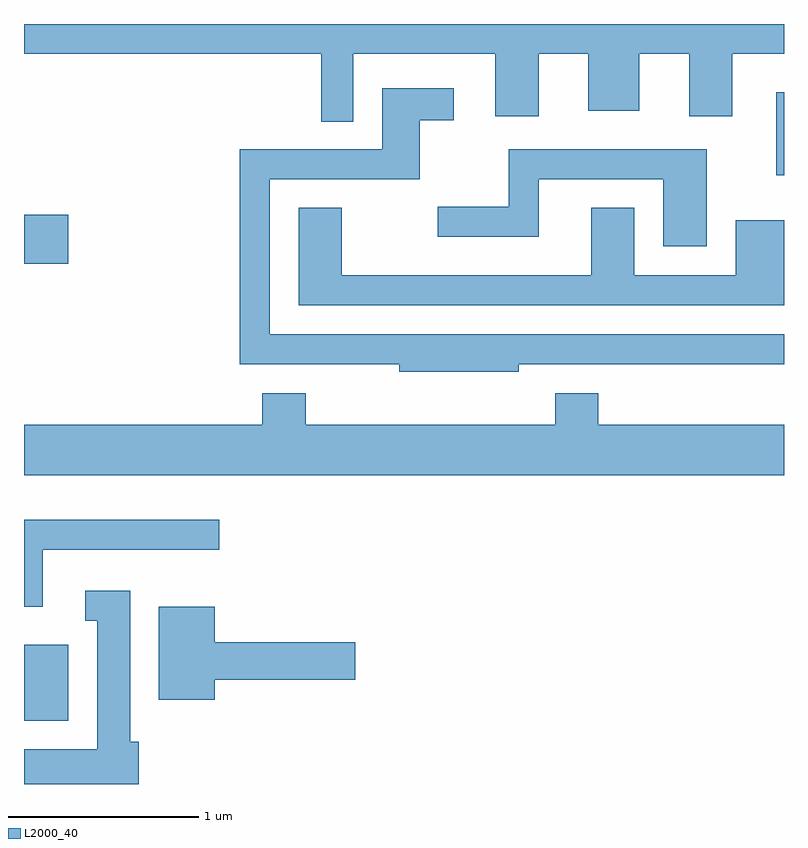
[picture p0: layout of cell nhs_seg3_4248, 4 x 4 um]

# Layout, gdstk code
import gdstk
lib = gdstk.Library(unit=1e-6, precision=1e-09)
def R(c, l, rs):  # rectangles x0, y0, x1, y1
    for r in rs: c.add(gdstk.rectangle(r[:2], r[2:], *l))
def P(c, l, *ps):  # polygons
    for p in ps: c.add(gdstk.Polygon(p, *l))
L2000_40 = (2000, 40)

nhs_seg3_4248 = lib.new_cell('nhs_seg3_4248')
R(nhs_seg3_4248, L2000_40, [(309.611,1180.226,309.844,1180.624), (309.611,1182.631,309.844,1182.889), (313.571,1183.096,313.611,1183.534)])
P(nhs_seg3_4248, L2000_40, [(311.344,1183.736),(312.091,1183.736),(312.091,1183.406),(312.319,1183.406),(312.319,1183.736),(312.581,1183.736),(312.581,1183.436),(312.849,1183.436),(312.849,1183.736),(313.111,1183.736),(313.111,1183.406),(313.339,1183.406),(313.339,1183.736),(313.611,1183.736),(313.611,1183.892),(309.611,1183.892),(309.611,1183.736),(311.176,1183.736),(311.176,1183.378),(311.344,1183.378)],
  [(312.214,1182.101),(313.611,1182.101),(313.611,1182.259),(310.904,1182.259),(310.904,1183.076),(311.694,1183.076),(311.694,1183.386),(311.873,1183.386),(311.873,1183.554),(311.496,1183.554),(311.496,1183.234),(310.746,1183.234),(310.746,1182.101),(311.586,1182.101),(311.586,1182.061),(312.214,1182.061)],
  [(313.204,1183.234),(312.161,1183.234),(312.161,1182.929),(311.788,1182.929),(311.788,1182.771),(312.319,1182.771),(312.319,1183.076),(312.976,1183.076),(312.976,1182.721),(313.204,1182.721)],
  [(313.611,1182.859),(313.356,1182.859),(313.356,1182.569),(312.824,1182.569),(312.824,1182.924),(312.596,1182.924),(312.596,1182.569),(311.284,1182.569),(311.284,1182.924),(311.056,1182.924),(311.056,1182.411),(313.611,1182.411)],
  [(313.611,1181.784),(312.634,1181.784),(312.634,1181.949),(312.406,1181.949),(312.406,1181.784),(311.094,1181.784),(311.094,1181.949),(310.866,1181.949),(310.866,1181.784),(309.611,1181.784),(309.611,1181.516),(313.611,1181.516)],
  [(309.709,1181.126),(310.638,1181.126),(310.638,1181.284),(309.611,1181.284),(309.611,1180.826),(309.709,1180.826)],
  [(310.214,1180.114),(310.169,1180.114),(310.169,1180.909),(309.933,1180.909),(309.933,1180.751),(309.996,1180.751),(309.996,1180.074),(309.611,1180.074),(309.611,1179.892),(310.214,1179.892)],
  [(310.614,1180.441),(311.354,1180.441),(311.354,1180.639),(310.614,1180.639),(310.614,1180.824),(310.321,1180.824),(310.321,1180.336),(310.614,1180.336)])

lib.write_gds('nhs_seg3_4248.gds')
